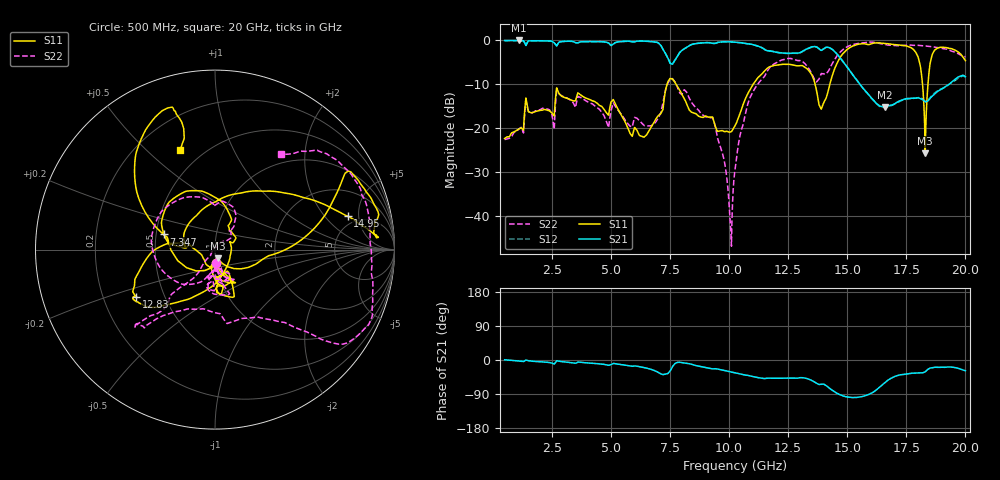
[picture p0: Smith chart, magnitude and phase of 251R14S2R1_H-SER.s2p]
!{251R14S2R1}
!Johanson Technology Inc.
!www.johansontechnology.com
!Test Board Conditions:
!Substrate Type  RO4350B
!Substrate Thickness  20 mil
!Substrate Dk  3.66
!TL Type: GCPW
!TL Trace Width  36 mil
!TL Gap  12 mil
!Electrode orientation  Horizontal
!DUT TOPOLOGY	SERIES
!Mounting Pad LxW  26x36 mil
! Created Wed Mar 11 15:47:43 2020
# mhz S ma R 50
! 2 Port Network Data from SP1.SP block
! freq  magS11  angS11  magS21  angS21  magS12  angS12  magS22  angS22
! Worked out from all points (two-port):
!   19501 points, 500 MHz to 20 GHz, reference 50 ohm
!   highest |S21| = -0.06 dB at 1.1 GHz (marker M1); lowest = -15.2 dB at 16.6 GHz (marker M2)
!   |S21| within 3 dB of the highest: start of sweep to 7.309 GHz; 7.874 GHz to 14.55 GHz (6.676 GHz wide, 59.5 % of centre)
!   lowest |S11| = -25.7 dB at 18.3 GHz (marker M3), VSWR 1.11, Z = 51.4 - j5.06 ohm
!   |S11| at or under -10 dB: start of sweep to 7.375 GHz; 7.75 GHz to 11.02 GHz (3.27 GHz wide, 34.8 % of centre); 13.64 GHz to 14.26 GHz (625.9 MHz wide, 4.49 % of centre)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
!   |S22| runs from -46.8 to -0.4 dB; largest |S21 - S12| = 0.014
!   S11 on the Smith chart (normalised r, x): 500 MHz: 1.00, -0.15; 7.347 GHz: 0.55, +0.10; 12.83 GHz: 0.34, -0.25; 14.95 GHz: 4.08, +3.61; 20 GHz: 0.38, +0.64
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500  0.07636 -84.7  0.9908 0.6  0.9898 0.5  0.07415 -83.9
1100  0.09793 -86.0  0.9931 -2.5  0.9913 -2.4  0.0979 -95.5
3750  0.2349 -87.7  0.9592 -6.4  0.9601 -6.4  0.2204 -99.0
5853  0.08399 -98.8  0.9652 -16.2  0.9635 -16.4  0.1043 -76.5
7000  0.1387 170.4  0.9335 -32.6  0.936 -32.8  0.1297 -99.2
7347  0.2962 163.4  0.674 -36.6  0.6772 -37.2  0.2919 -146.5
7741  0.3195 98.5  0.6132 -8.3  0.6131 -8.6  0.3217 113.8
9324  0.1277 27.0  0.9179 -23.3  0.9223 -23.7  0.1272 45.5
10059  0.0907 -16.4  0.9579 -31.2  0.957 -31.4  0.008204 130.8
10250  0.1066 -45.8  0.9496 -33.8  0.9461 -33.9  0.03382 -131.7
11017  0.3153 -118.6  0.889 -43.9  0.8892 -43.7  0.2604 -130.9
12834  0.5131 -149.1  0.7142 -47.9  0.7103 -47.6  0.5934 -134.9
13500  0.4038 -169.4  0.8408 -54.1  0.8369 -53.6  0.4142 -123.2
13918  0.1696 171.0  0.768 -63.9  0.7694 -63.8  0.4169 -80.3
14945  0.7616 14.1  0.5161 -96.9  0.5182 -96.6  0.8272 -38.7
16600  0.918 17.3  0.1745 -59.6  0.1713 -59.2  0.8967 -11.3
16750  0.9084 19.7  0.179 -52.1  0.1759 -51.9  0.8795 -7.2
17922  0.709 22.3  0.2196 -34.3  0.2201 -34.5  0.8775 23.1
18300  0.05162 -71.9  0.198 -31.2  0.203 -30.5  0.8614 30.7
18523  0.5703 140.9  0.2202 -21.1  0.2244 -19.8  0.8473 34.6
18856  0.8197 112.4  0.2652 -19.3  0.269 -17.7  0.8222 40.0
20000  0.5863 109.3  0.3853 -28.2  0.3829 -29.1  0.6482 55.5
